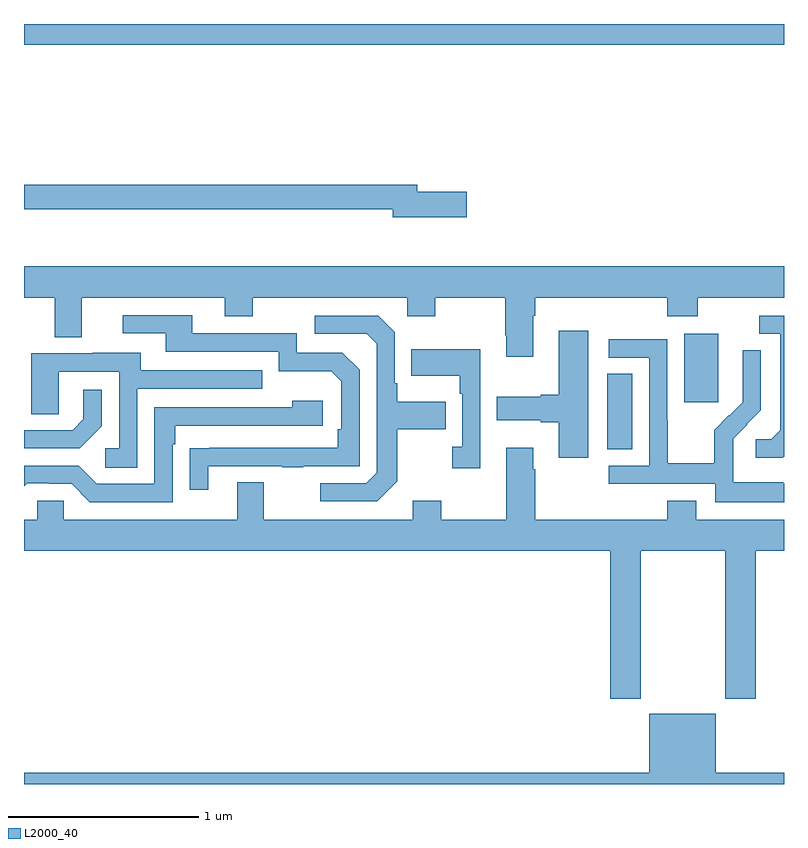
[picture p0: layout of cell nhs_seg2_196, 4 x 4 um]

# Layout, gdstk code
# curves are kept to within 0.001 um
import gdstk
lib = gdstk.Library(unit=1e-6, precision=1e-09)
def R(c, l, rs):  # rectangles x0, y0, x1, y1
    for r in rs: c.add(gdstk.rectangle(r[:2], r[2:], *l))
def P(c, l, *ps):  # polygons
    for p in ps: c.add(gdstk.Polygon(p, *l))
L2000_40 = (2000, 40)

nhs_seg2_196 = lib.new_cell('nhs_seg2_196')
R(nhs_seg2_196, L2000_40, [(124.07,589.561,124.201,589.958), (124.475,589.809,124.654,590.17), (121,591.692,125,591.8)])
P(nhs_seg2_196, L2000_40, [(123.331,590.918),(123.07,590.918),(123.07,590.954),(121,590.954),(121,590.826),(122.942,590.826),(122.942,590.783),(123.331,590.783)],
  [(123.679,590.264),(123.692,590.264),(123.692,590.36),(124.385,590.36),(124.385,590.261),(124.545,590.261),(124.545,590.36),(125,590.36),(125,590.524),(121,590.524),(121,590.36),(121.163,590.36),(121.163,590.152),(121.303,590.152),(121.303,590.36),(122.057,590.36),(122.057,590.261),(122.205,590.261),(122.205,590.36),(123.018,590.36),(123.018,590.261),(123.165,590.261),(123.165,590.36),(123.532,590.36),(123.532,590.161),(123.539,590.161),(123.539,590.049),(123.679,590.049)],
  [(121.969,589.473),(122.359,589.473),(122.359,589.468),(122.471,589.468),(122.471,589.473),(122.766,589.473),(122.766,589.98),(122.676,590.07),(122.436,590.07),(122.436,590.172),(121.885,590.172),(121.885,590.268),(121.521,590.268),(121.521,590.172),(121.745,590.172),(121.745,590.076),(122.34,590.076),(122.34,589.973),(122.617,589.973),(122.67,589.92),(122.67,589.666),(122.65,589.666),(122.65,589.569),(121.873,589.568),(121.873,589.35),(121.969,589.35)],
  [(122.965,589.393),(122.965,589.666),(123.221,589.666),(123.221,589.813),(122.965,589.813),(122.965,589.909),(122.952,589.909),(122.952,590.178),(122.865,590.265),(122.529,590.265),(122.529,590.169),(122.805,590.169),(122.856,590.118),(122.856,589.437),(122.802,589.383),(122.559,589.383),(122.559,589.287),(122.859,589.287)],
  [(125,589.523),(125,590.265),(124.869,590.265),(124.869,590.169),(124.979,590.169),(124.979,589.661),(124.932,589.614),(124.851,589.614),(124.851,589.517),(124.994,589.517)],
  [(123.97,590.185),(123.815,590.185),(123.815,589.85),(123.719,589.85),(123.719,589.837),(123.489,589.837),(123.489,589.715),(123.719,589.715),(123.719,589.703),(123.815,589.703),(123.815,589.518),(123.97,589.518)],
  [(125,589.383),(124.997,589.383),(124.997,589.387),(124.734,589.387),(124.734,589.521),(124.732,589.521),(124.732,589.618),(124.878,589.766),(124.878,590.084),(124.782,590.084),(124.782,589.93),(124.784,589.93),(124.784,589.808),(124.713,589.737),(124.71,589.74),(124.633,589.663),(124.633,589.489),(124.389,589.489),(124.389,589.712),(124.386,589.712),(124.386,590.142),(124.077,590.142),(124.077,590.043),(124.29,590.043),(124.29,589.476),(124.077,589.476),(124.077,589.38),(124.638,589.38),(124.638,589.283),(125,589.283)],
  [(123.402,590.089),(123.037,590.089),(123.037,589.949),(123.294,589.949),(123.294,589.853),(123.306,589.853),(123.306,589.574),(123.255,589.574),(123.255,589.461),(123.402,589.461)],
  [(121.596,589.881),(122.255,589.881),(122.255,589.977),(121.615,589.977),(121.615,590.071),(121.361,590.071),(121.361,590.067),(121.037,590.067),(121.037,589.747),(121.182,589.747),(121.182,589.971),(121.5,589.971),(121.5,589.566),(121.428,589.566),(121.428,589.465),(121.596,589.465)],
  [(121.41,589.682),(121.41,589.876),(121.313,589.876),(121.313,589.719),(121.256,589.662),(121,589.662),(121,589.566),(121.294,589.566)],
  [(121.782,589.589),(121.795,589.589),(121.795,589.686),(122.572,589.686),(122.572,589.816),(122.411,589.816),(122.411,589.782),(121.686,589.782),(121.686,589.38),(121.383,589.38),(121.287,589.476),(121,589.476),(121,589.366),(121.017,589.383),(121.133,589.383),(121.133,589.38),(121.251,589.38),(121.347,589.284),(121.782,589.284)],
  [(124.245,589.028),(124.69,589.028),(124.69,588.249),(124.85,588.249),(124.85,589.028),(125,589.028),(125,589.192),(124.537,589.192),(124.537,589.291),(124.385,589.291),(124.385,589.192),(123.692,589.192),(123.692,589.457),(123.679,589.457),(123.679,589.57),(123.539,589.57),(123.539,589.192),(123.195,589.192),(123.195,589.291),(123.047,589.291),(123.047,589.192),(122.263,589.192),(122.263,589.387),(122.123,589.387),(122.123,589.192),(121.209,589.192),(121.209,589.29),(121.071,589.29),(121.071,589.192),(121,589.192),(121,589.028),(124.085,589.028),(124.085,588.249),(124.245,588.249)],
  [(125,587.86),(124.642,587.86),(124.642,588.169),(124.292,588.169),(124.292,587.86),(121,587.86),(121,587.8),(125,587.8)])

lib.write_gds('nhs_seg2_196.gds')
